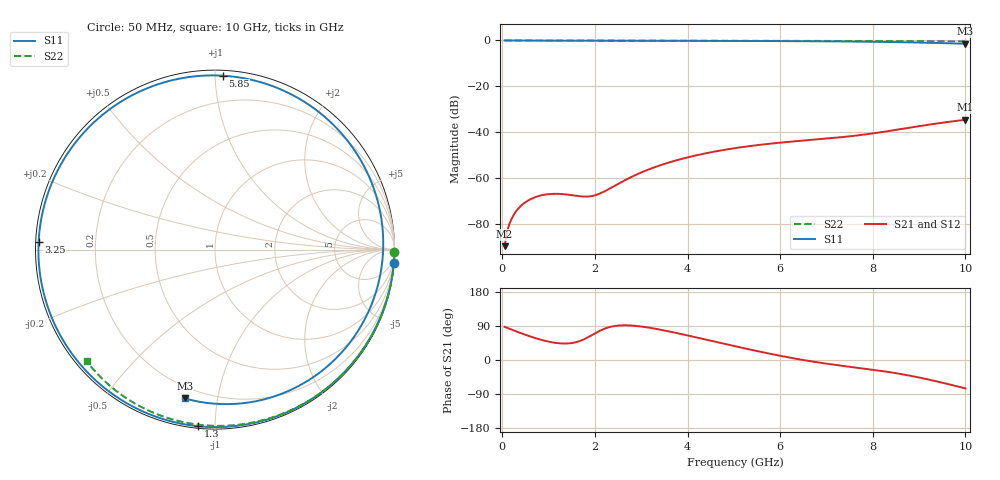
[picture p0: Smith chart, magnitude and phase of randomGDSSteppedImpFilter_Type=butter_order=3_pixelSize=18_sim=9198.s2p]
! freq	dB(S11)	phase(S11)	dB(S12)	phase(S12)
!  dB(S21)	phase(S21)	dB(S22)	phase(S22)
!S-par simulation data
#  GHz  S  DB  R 50
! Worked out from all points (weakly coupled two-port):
!   200 points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, 50 MHz to 10 GHz, reference 50 ohm
!   highest |S21| = -34.61 dB at 10 GHz (marker M1); lowest = -89.7 dB at 50 MHz (marker M2)
!   lowest |S11| = -1.5 dB at 10 GHz (marker M3), VSWR 11.99, Z = 6.93 - j40.5 ohm
!   |S11| at or under -10 dB: nowhere
!   |S22| runs from -0.5 to 0.0 dB; largest |S21 - S12| = 0
!   S11 on the Smith chart (normalised r, x): 50 MHz: 0, -27; 1.3 GHz: 0.01, -0.91; 3.25 GHz: 0.01, +0.02; 5.85 GHz: 0.03, +1.04; 10 GHz: 0.14, -0.81
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0.05  -0.00 -4.2  -89.74 87.6  -89.74 87.6  -0.00 -0.8
0.15  -0.02 -12.4  -80.26 82.7  -80.26 82.7  -0.00 -2.4
0.35  -0.04 -28.6  -73.25 73.2  -73.25 73.2  -0.01 -5.6
0.7  -0.07 -55.5  -68.46 58.3  -68.46 58.3  -0.01 -11.2
1  -0.09 -76.5  -67.05 48.5  -67.05 48.5  -0.02 -15.9
1.3  -0.10 -95.4  -67.01 43.5  -67.01 43.5  -0.03 -20.6
1.75  -0.11 -120.1  -68.08 53.8  -68.08 53.8  -0.04 -27.7
2.05  -0.12 -134.6  -67.23 73.5  -67.23 73.5  -0.04 -32.3
2.45  -0.13 -152.0  -63.14 90.1  -63.14 90.1  -0.05 -38.4
3.25  -0.14 177.5  -55.60 83.7  -55.60 83.7  -0.07 -50.4
3.4  -0.15 172.2  -54.52 80.3  -54.52 80.3  -0.07 -52.6
4.2  -0.17 144.8  -50.06 59.4  -50.06 59.4  -0.09 -64.2
5.05  -0.21 116.0  -46.90 35.7  -46.90 35.7  -0.12 -76.1
5.85  -0.27 87.5  -44.88 14.8  -44.88 14.8  -0.15 -86.9
6.7  -0.35 54.7  -43.33 -4.1  -43.33 -4.1  -0.19 -98.0
7.6  -0.48 16.6  -41.59 -19.4  -41.59 -19.4  -0.25 -109.5
8  -0.58 -1.5  -40.55 -25.6  -40.55 -25.6  -0.28 -114.4
8.35  -0.67 -17.8  -39.49 -31.8  -39.49 -31.8  -0.30 -118.8
8.8  -0.83 -39.6  -38.03 -41.4  -38.03 -41.4  -0.34 -124.3
9.25  -1.03 -62.0  -36.61 -52.8  -36.61 -52.8  -0.39 -129.8
9.65  -1.24 -82.7  -35.47 -64.3  -35.47 -64.3  -0.43 -134.8
10  -1.45 -101.4  -34.61 -75.0  -34.61 -75.0  -0.47 -139.1
